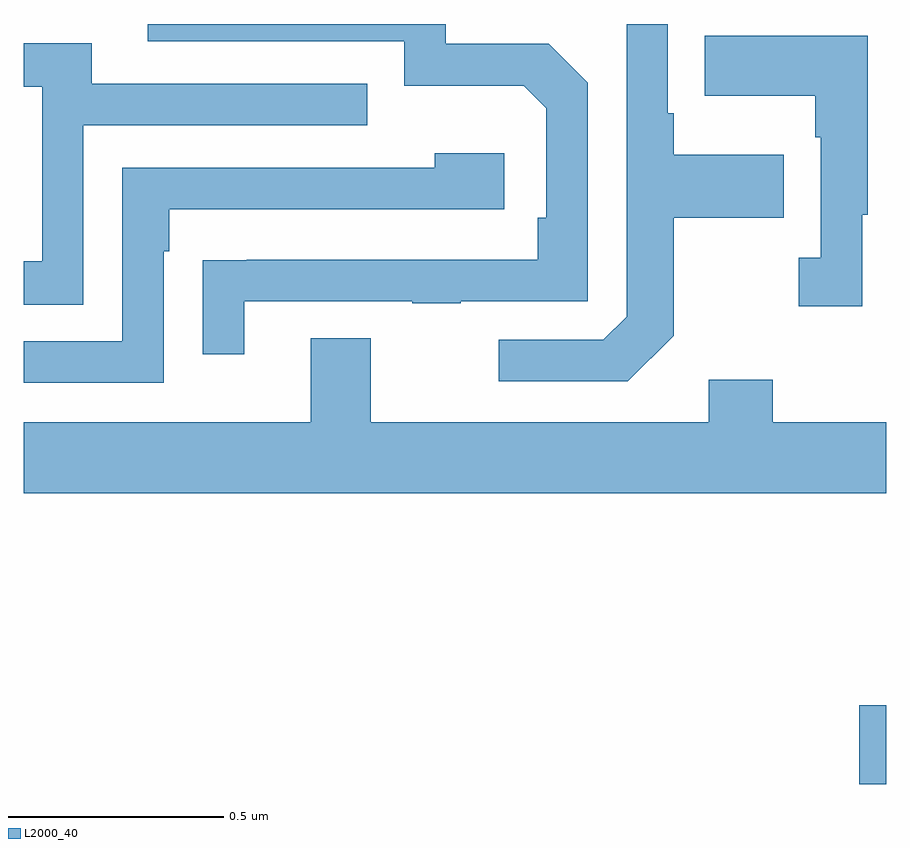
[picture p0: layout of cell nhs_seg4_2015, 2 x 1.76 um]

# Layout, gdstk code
import gdstk
lib = gdstk.Library(unit=1e-6, precision=1e-09)
def R(c, l, rs):  # rectangles x0, y0, x1, y1
    for r in rs: c.add(gdstk.rectangle(r[:2], r[2:], *l))
def P(c, l, *ps):  # polygons
    for p in ps: c.add(gdstk.Polygon(p, *l))
L2000_40 = (2000, 40)

nhs_seg4_2015 = lib.new_cell('nhs_seg4_2015')
R(nhs_seg4_2015, L2000_40, [(136.938,804.137,137,804.32)])
P(nhs_seg4_2015, L2000_40, [(136.507,805.177),(136.507,805.45),(136.763,805.45),(136.763,805.597),(136.507,805.597),(136.507,805.693),(136.494,805.693),(136.494,805.9),(136.398,805.9),(136.398,805.221),(136.344,805.167),(136.101,805.167),(136.101,805.071),(136.401,805.071)],
  [(135.511,805.257),(135.901,805.257),(135.901,805.252),(136.013,805.252),(136.013,805.257),(136.308,805.257),(136.308,805.764),(136.218,805.854),(135.978,805.854),(135.978,805.9),(135.287,805.9),(135.287,805.86),(135.882,805.86),(135.882,805.757),(136.159,805.757),(136.212,805.704),(136.212,805.45),(136.192,805.45),(136.192,805.353),(135.517,805.353),(135.517,805.352),(135.415,805.352),(135.415,805.134),(135.511,805.134)],
  [(136.945,805.457),(136.957,805.457),(136.957,805.873),(136.579,805.873),(136.579,805.733),(136.836,805.733),(136.836,805.637),(136.848,805.637),(136.848,805.358),(136.797,805.358),(136.797,805.245),(136.945,805.245)],
  [(135.138,805.665),(135.797,805.665),(135.797,805.761),(135.157,805.761),(135.157,805.855),(135,805.855),(135,805.755),(135.042,805.755),(135.042,805.35),(135,805.35),(135,805.249),(135.138,805.249)],
  [(135.324,805.373),(135.337,805.373),(135.337,805.47),(136.114,805.47),(136.114,805.6),(135.953,805.6),(135.953,805.566),(135.228,805.566),(135.228,805.164),(135,805.164),(135,805.068),(135.324,805.068)],
  [(135.665,805.171),(135.665,804.976),(135,804.976),(135,804.812),(137,804.812),(137,804.976),(136.737,804.976),(136.737,805.075),(136.589,805.075),(136.589,804.976),(135.805,804.976),(135.805,805.171)])

lib.write_gds('nhs_seg4_2015.gds')
